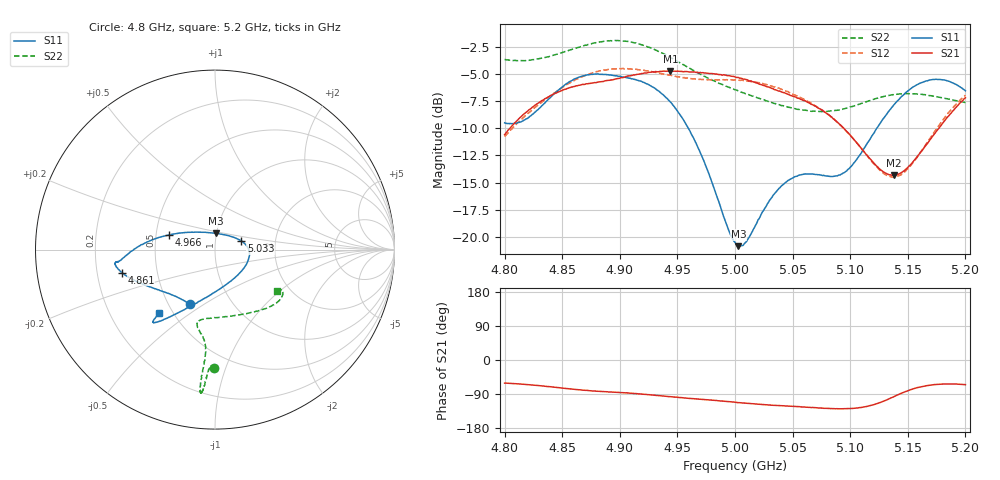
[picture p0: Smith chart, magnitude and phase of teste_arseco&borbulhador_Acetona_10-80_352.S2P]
! Network Analyzer HP8722D
! Hewlett-Packard
! Data name: Linha & Wilkinson
! Saver's name: Rodrigo Anjos
! Comments: Teste da utilização de aquisição
! continua pelo VNA HP8722D
! Time and date: 17/4/2025 17:17
!  Frequency  S11  S21  S12  S22
# HZ  S  MA R 50
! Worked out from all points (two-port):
!   401 points, 4.8 GHz to 5.2 GHz, reference 50 ohm
!   highest |S21| = -4.70 dB at 4.944 GHz (marker M1); lowest = -14.3 dB at 5.138 GHz (marker M2)
!   |S21| within 3 dB of the highest: 4.829 GHz to 5.065 GHz (236.2 MHz wide, 4.77 % of centre); 5.194924 GHz to end of sweep
!   lowest |S11| = -20.9 dB at 5.003 GHz (marker M3), VSWR 1.20, Z = 49.7 + j9.05 ohm
!   |S11| at or under -10 dB: 4.96 GHz to 5.123 GHz (163.5 MHz wide, 3.24 % of centre)
!   |S22| runs from -8.5 to -1.9 dB; largest |S21 - S12| = 0.87
!   S11 on the Smith chart (normalised r, x): 4.8 GHz: 0.64, -0.44; 4.861 GHz: 0.31, -0.11; 4.966 GHz: 0.58, +0.10; 5.033 GHz: 1.34, +0.13; 5.2 GHz: 0.42, -0.39
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4.8e9  0.3353 -114.3  0.2956 -61.0  0.29 -175.3  0.6571 -90.3
4.819e9  0.3501 -134.3  0.3766 -64.6  0.3646 -174.3  0.6517 -92.0
4.861e9  0.5353 -166.1  0.4937 -77.6  0.5286 -177.5  0.7379 -94.3
4.867e9  0.5497 -168.5  0.5033 -79.4  0.5464 -178.5  0.757 -94.3
4.899e9  0.5493 -172.8  0.5369 -85.7  0.595 174.9  0.8021 -95.7
4.934e9  0.4689 -178.7  0.5772 -94.1  0.5686 171.3  0.7137 -96.1
4.944e9  0.4179 176.9  0.582 -96.8  0.5558 171.5  0.6712 -95.8
4.966e9  0.2711 162.5  0.5732 -102.5  0.5327 173.3  0.577 -95.2
5e9  0.09422 98.2  0.5463 -111.6  0.5291 175.7  0.4763 -99.1
5.003e9  0.09046 87.0  0.5423 -112.5  0.5279 175.8  0.4703 -100.0
5.011e9  0.09722 58.9  0.5287 -114.7  0.5218 175.5  0.4542 -101.7
5.033e9  0.155 18.3  0.4817 -119.2  0.4928 174.3  0.4142 -103.3
5.049e9  0.1853 1.9  0.4472 -122.0  0.4582 173.8  0.3927 -99.5
5.067e9  0.1948 -17.3  0.4073 -125.3  0.4108 173.4  0.3787 -90.1
5.086e9  0.1901 -47.5  0.3484 -128.2  0.3483 173.7  0.3818 -75.7
5.097e9  0.2014 -69.9  0.3053 -128.5  0.3063 174.7  0.3917 -66.7
5.123e9  0.3163 -109.1  0.2116 -115.4  0.2105 -169.9  0.4351 -48.5
5.134e9  0.3823 -117.8  0.193 -102.2  0.1898 -155.1  0.4492 -43.1
5.138e9  0.4064 -120.1  0.192 -96.7  0.1886 -148.8  0.4519 -41.3
5.15e9  0.4696 -125.2  0.2088 -81.1  0.2055 -130.7  0.4573 -36.9
5.17e9  0.5294 -129.8  0.283 -66.1  0.288 -112.3  0.4472 -32.2
5.2e9  0.471 -131.1  0.4375 -65.0  0.4494 -107.0  0.4154 -33.7
